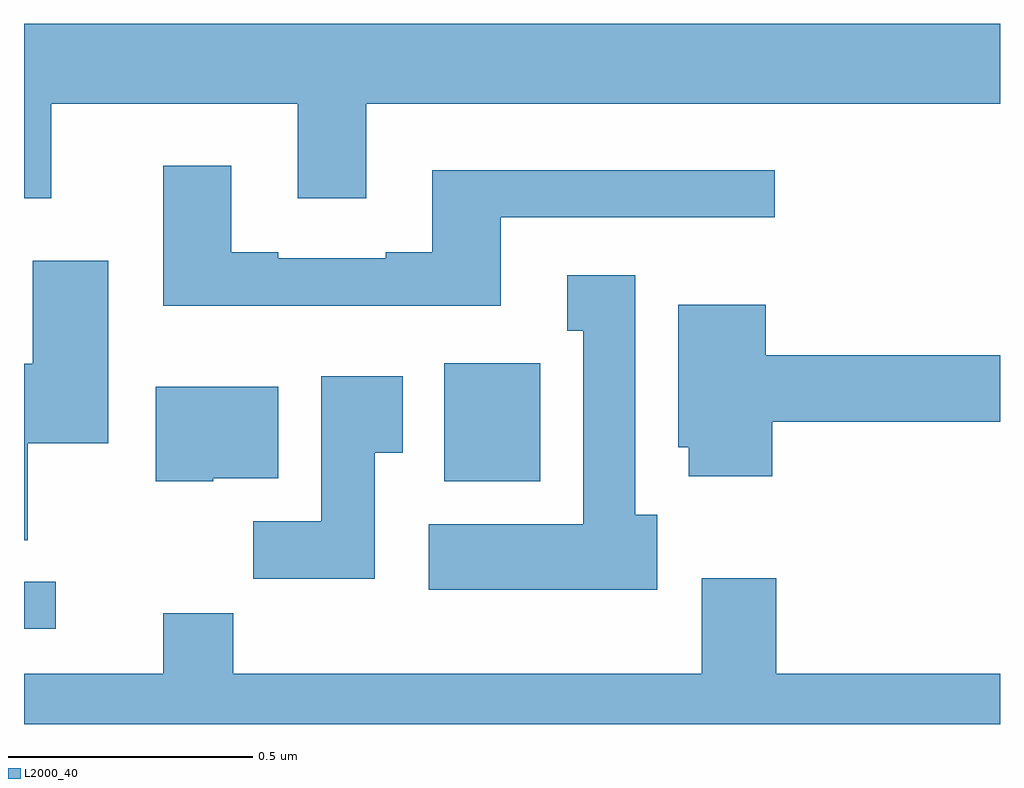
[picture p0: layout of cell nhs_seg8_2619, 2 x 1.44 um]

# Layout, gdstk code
import gdstk
lib = gdstk.Library(unit=1e-6, precision=1e-09)
def R(c, l, rs):  # rectangles x0, y0, x1, y1
    for r in rs: c.add(gdstk.rectangle(r[:2], r[2:], *l))
def P(c, l, *ps):  # polygons
    for p in ps: c.add(gdstk.Polygon(p, *l))
L2000_40 = (2000, 40)

nhs_seg8_2619 = lib.new_cell('nhs_seg8_2619')
R(nhs_seg8_2619, L2000_40, [(146,1110.096,146.065,1110.192), (146.861,1110.398,147.058,1110.64)])
P(nhs_seg8_2619, L2000_40, [(146.056,1111.172),(146.561,1111.172),(146.561,1110.978),(146.701,1110.978),(146.701,1111.172),(148,1111.172),(148,1111.336),(146,1111.336),(146,1110.978),(146.056,1110.978)],
  [(146.977,1110.939),(147.538,1110.939),(147.538,1111.036),(146.837,1111.036),(146.837,1110.868),(146.741,1110.868),(146.741,1110.855),(146.521,1110.855),(146.521,1110.868),(146.425,1110.868),(146.425,1111.045),(146.285,1111.045),(146.285,1110.758),(146.977,1110.758)],
  [(146.008,1110.476),(146.173,1110.476),(146.173,1110.85),(146.018,1110.85),(146.018,1110.639),(146,1110.639),(146,1110.277),(146.008,1110.277)],
  [(147.298,1110.33),(147.253,1110.33),(147.253,1110.82),(147.113,1110.82),(147.113,1110.707),(147.146,1110.707),(147.146,1110.31),(146.829,1110.31),(146.829,1110.176),(147.298,1110.176)],
  [(147.533,1110.52),(148,1110.52),(148,1110.656),(147.52,1110.656),(147.52,1110.76),(147.341,1110.76),(147.341,1110.468),(147.362,1110.468),(147.362,1110.408),(147.533,1110.408)],
  [(146.719,1110.457),(146.776,1110.457),(146.776,1110.613),(146.609,1110.613),(146.609,1110.316),(146.47,1110.316),(146.47,1110.198),(146.719,1110.198)],
  [(146.388,1110.404),(146.521,1110.404),(146.521,1110.592),(146.27,1110.592),(146.27,1110.398),(146.388,1110.398)],
  [(148,1110.004),(147.542,1110.004),(147.542,1110.199),(147.389,1110.199),(147.389,1110.004),(146.429,1110.004),(146.429,1110.128),(146.285,1110.128),(146.285,1110.004),(146,1110.004),(146,1109.9),(148,1109.9)])

lib.write_gds('nhs_seg8_2619.gds')
